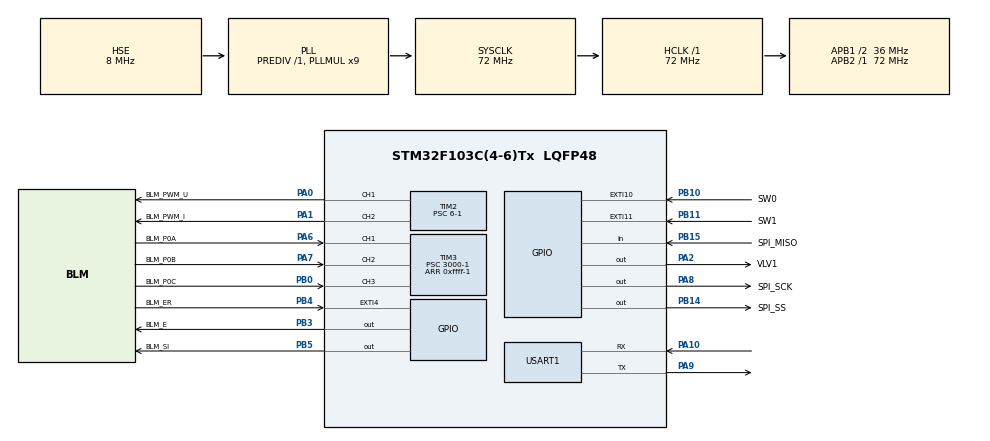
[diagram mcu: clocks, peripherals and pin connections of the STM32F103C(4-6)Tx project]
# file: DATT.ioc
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Mcu.Family=STM32F1
Mcu.Name=STM32F103C(4-6)Tx
Mcu.Package=LQFP48
NVIC.EXTI15_10_IRQn=true\:0\:0\:false\:false\:true\:true\:true\:true
NVIC.EXTI4_IRQn=true\:0\:0\:false\:false\:true\:true\:true\:true
NVIC.PriorityGroup=NVIC_PRIORITYGROUP_4
NVIC.TIM1_UP_IRQn=true\:2\:0\:true\:false\:true\:true\:true\:true
NVIC.TIM2_IRQn=true\:0\:0\:false\:false\:true\:true\:true\:true
NVIC.TIM3_IRQn=true\:0\:0\:true\:false\:true\:true\:true\:true
NVIC.USART1_IRQn=true\:1\:0\:true\:false\:true\:true\:true\:true
PA0-WKUP.GPIO_Label=BLM_PWM_U
PA0-WKUP.GPIO_ModeDefaultPP=GPIO_MODE_AF_PP
PA0-WKUP.GPIO_Speed=GPIO_SPEED_FREQ_HIGH
PA0-WKUP.Signal=S_TIM2_CH1_ETR
PA1.GPIO_Label=BLM_PWM_I
PA1.GPIO_Speed=GPIO_SPEED_FREQ_HIGH
PA1.Signal=S_TIM2_CH2
PA10.Mode=Asynchronous
PA10.Signal=USART1_RX
PA2.GPIO_Label=VLV1
PA2.Signal=GPIO_Output
PA6.GPIO_Label=BLM_P0A
PA6.GPIO_PuPd=GPIO_NOPULL
PA6.Signal=S_TIM3_CH1
PA7.GPIO_Label=BLM_P0B
PA7.GPIO_PuPd=GPIO_NOPULL
PA7.Signal=S_TIM3_CH2
PA8.GPIO_Label=SPI_SCK
PA8.GPIO_ModeDefaultOutputPP=GPIO_MODE_OUTPUT_OD
PA8.GPIO_PuPd=GPIO_NOPULL
PA8.GPIO_Speed=GPIO_SPEED_FREQ_HIGH
PA8.Signal=GPIO_Output
PA9.Mode=Asynchronous
PA9.Signal=USART1_TX
PB0.GPIO_Label=BLM_P0C
PB0.GPIO_PuPd=GPIO_NOPULL
PB0.Signal=S_TIM3_CH3
PB10.GPIO_Label=SW0
PB10.GPIO_ModeDefaultEXTI=GPIO_MODE_IT_FALLING
PB10.GPIO_PuPd=GPIO_PULLUP
PB10.Signal=GPXTI10
PB11.GPIO_Label=SW1
PB11.GPIO_ModeDefaultEXTI=GPIO_MODE_IT_FALLING
PB11.GPIO_PuPd=GPIO_PULLUP
PB11.Signal=GPXTI11
PB14.GPIO_Label=SPI_SS
PB14.GPIO_ModeDefaultOutputPP=GPIO_MODE_OUTPUT_OD
PB14.GPIO_PuPd=GPIO_NOPULL
PB14.Signal=GPIO_Output
PB15.GPIO_Label=SPI_MISO
PB15.GPIO_PuPd=GPIO_NOPULL
PB15.Signal=GPIO_Input
PB3.GPIO_Label=BLM_E
PB3.Signal=GPIO_Output
PB4.GPIO_Label=BLM_ER
PB4.GPIO_PuPd=GPIO_NOPULL
PB4.Signal=GPXTI4
PB5.GPIO_Label=BLM_SI
PB5.Signal=GPIO_Output
PD0-OSC_IN.Mode=HSE-External-Oscillator
PD0-OSC_IN.Signal=RCC_OSC_IN
PD1-OSC_OUT.Mode=HSE-External-Oscillator
PD1-OSC_OUT.Signal=RCC_OSC_OUT
ProjectManager.HeapSize=0x200
ProjectManager.StackSize=0x400
ProjectManager.TargetToolchain=MDK-ARM V5.32
RCC.AHBFreq_Value=72000000
RCC.APB1CLKDivider=RCC_HCLK_DIV2
RCC.APB1Freq_Value=36000000
RCC.APB1TimFreq_Value=72000000
RCC.APB2Freq_Value=72000000
RCC.APB2TimFreq_Value=72000000
RCC.HCLKFreq_Value=72000000
RCC.PLLMUL=RCC_PLL_MUL9
RCC.PLLSourceVirtual=RCC_PLLSOURCE_HSE
RCC.SYSCLKFreq_VALUE=72000000
RCC.SYSCLKSource=RCC_SYSCLKSOURCE_PLLCLK
RCC.USBFreq_Value=72000000
SH.S_TIM2_CH1_ETR.0=TIM2_CH1,PWM Generation1 CH1
SH.S_TIM2_CH2.0=TIM2_CH2,PWM Generation2 CH2
SH.S_TIM3_CH1.0=TIM3_CH1,Input_Capture1_from_TI1
SH.S_TIM3_CH2.0=TIM3_CH2,Input_Capture2_from_TI2
SH.S_TIM3_CH3.0=TIM3_CH3,Input_Capture3_from_TI3
TIM1.Period=20000-1
TIM1.Prescaler=360-1
TIM2.Channel-PWM\ Generation1\ CH1=TIM_CHANNEL_1
TIM2.Channel-PWM\ Generation2\ CH2=TIM_CHANNEL_2
TIM2.OCMode_PWM-PWM\ Generation2\ CH2=TIM_OCMODE_PWM1
TIM2.Period=600-1
TIM2.Prescaler=6-1
TIM2.Pulse-PWM\ Generation1\ CH1=0
TIM3.Channel-Input_Capture1_from_TI1=TIM_CHANNEL_1
TIM3.Channel-Input_Capture2_from_TI2=TIM_CHANNEL_2
TIM3.Channel-Input_Capture3_from_TI3=TIM_CHANNEL_3
TIM3.ICFilter_CH3=2
TIM3.Period=0xffff-1
TIM3.Prescaler=3000-1
USART1.Parity=PARITY_NONE
USART1.VirtualMode=VM_ASYNC
VP_SYS_VS_ND.Mode=No_Debug
VP_TIM1_VS_ClockSourceINT.Mode=Internal
VP_TIM2_VS_ClockSourceINT.Mode=Internal
VP_TIM3_VS_ClockSourceINT.Mode=Internal
VP_TIM3_VS_XOR.Mode=XOR_enable
board=custom

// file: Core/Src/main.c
/* USER CODE BEGIN Header */
/**
  ******************************************************************************
  * @file           : main.c
  * @brief          : Main program body
  ******************************************************************************
  * @attention
  *
  * Copyright (c) 2022 STMicroelectronics.
  * All rights reserved.
  *
  * This software is licensed under terms that can be found in the LICENSE file
  * in the root directory of this software component.
  * If no LICENSE file comes with this software, it is provided AS-IS.
  *
  ******************************************************************************
  */
/* USER CODE END Header */
#include "main.h"

/* USER CODE BEGIN Includes */
#include "stdlib.h"
#include "MCP3553.h"
#include "string.h"
#include "stdio.h"
#include "PID.h"
#include "pressureReceive.h"
/* USER CODE END Includes */

 TIM_HandleTypeDef htim1;
TIM_HandleTypeDef htim2;
TIM_HandleTypeDef htim3;

UART_HandleTypeDef huart1;

/* USER CODE BEGIN PV */
float pressure = PRESSURE_NORMAL;
float pressureCalc;
char Txdata[50];
char rx_buffer[30];
//char pressureRx[30];
uint8_t rx_index=0;
uint8_t rx_data;
int16_t voltage,current;
int16_t pwm;
volatile uint8_t flag_value = 0,flag_auto = 0, flag_speed = 0,flag_back = 0;
uint32_t Difference = 0,Difference_last=0;
float frequency = 0,frequencyCalc = 0;
uint8_t change_speed=0;
PidParameter PID_PRESSURE = {20,10,0.5};
PidParameter PID_SPEED = {0.12,1,0};
uint8_t count =0;
uint8_t countError = 0;
volatile uint32_t timeStart;
volatile PressureParameter pressureParam;
extern float last_error_pres,integrated_error_pres;
extern uint32_t timerPID_pres;
extern float last_error_pres_speed,integrated_error_pres_speed;
extern uint32_t timerPID_pres_speed;
extern float delta;
/* USER CODE END PV */

void SystemClock_Config(void);
static void MX_GPIO_Init(void);
static void MX_TIM2_Init(void);
static void MX_USART1_UART_Init(void);
static void MX_TIM1_Init(void);
static void MX_TIM3_Init(void);

/* USER CODE BEGIN 0 */
void HAL_TIM_PeriodElapsedCallback(TIM_HandleTypeDef * htim)
{
	if (htim -> Instance == htim1.Instance)
	{
		uint8_t state_system = !HAL_GPIO_ReadPin(BLM_E_GPIO_Port,BLM_E_Pin);//1:run; 0:stop
		uint8_t state_dir = HAL_GPIO_ReadPin(BLM_SI_GPIO_Port, BLM_SI_Pin);//0: back; 1: forward
		uint8_t state_valse = HAL_GPIO_ReadPin(VLV1_GPIO_Port,VLV1_Pin);//0: close; 1: open
		uint8_t state_extreme_back= !HAL_GPIO_ReadPin(SW0_GPIO_Port,SW0_Pin);//0: not; 1: yes
		uint8_t state_extreme_front= !HAL_GPIO_ReadPin(SW1_GPIO_Port,SW1_Pin);//0:not; 1: yes
		uint8_t state_motor= HAL_GPIO_ReadPin(BLM_ER_GPIO_Port,BLM_ER_Pin);//0: not error; 1:error
		sprintf(Txdata,"%.1f %.1f %d %d %d %d %d %d %d\n",pressure-PRESSURE_NORMAL,frequency,state_system,state_dir,
				state_valse,state_extreme_back,state_extreme_front,state_motor,flag_auto);
		HAL_UART_Transmit(&huart1, (uint8_t*)Txdata, strlen(Txdata), HAL_MAX_DELAY);
		if (change_speed)
			{
				count = 0;
				change_speed = 0;
			}
		else
			{
				if(frequency>200 || frequency<-200)
					frequency = 0;
				else if(++count==9)
					{
						frequency = 0;
						count = 0;
					}
			}
	}
}
void HAL_GPIO_EXTI_Callback(uint16_t GPIO_Pin)
{
	if(GPIO_Pin == SW0_Pin)
	{
		//close the solenoid valve
		HAL_GPIO_WritePin(VLV1_GPIO_Port, VLV1_Pin, GPIO_PIN_RESET);
		//Stop motor
		HAL_GPIO_WritePin(BLM_E_GPIO_Port, BLM_E_Pin, GPIO_PIN_SET);
		//motor go forward
		HAL_GPIO_WritePin(BLM_SI_GPIO_Port, BLM_SI_Pin, GPIO_PIN_SET);
		__HAL_TIM_SET_COMPARE(&htim2,TIM_CHANNEL_1,0);
		flag_auto = 0;
		flag_back = 0;
		flag_speed = 0;
	}
	else
	if(GPIO_Pin == SW1_Pin)
	{
		//open the solenoid valve
		HAL_GPIO_WritePin(VLV1_GPIO_Port, VLV1_Pin, GPIO_PIN_SET);
		//motor go back
		HAL_GPIO_WritePin(BLM_SI_GPIO_Port, BLM_SI_Pin, GPIO_PIN_RESET);

		if (flag_auto == 0)
		{
			//stop motor
			HAL_GPIO_WritePin(BLM_E_GPIO_Port, BLM_E_Pin, GPIO_PIN_SET);
			//speed = 0
			__HAL_TIM_SET_COMPARE(&htim2,TIM_CHANNEL_1,0);
			flag_speed = 0;
		}
		else
		{
			flag_back = 1;
			__HAL_TIM_SET_COMPARE(&htim2,TIM_CHANNEL_1,150);
		}
	}
	else
	if(GPIO_Pin == BLM_ER_Pin) //error motor
	{
			flag_auto = 0;
			frequencyCalc = 0;
			flag_speed = 0;
			flag_back = 0;
			HAL_GPIO_WritePin(BLM_E_GPIO_Port, BLM_E_Pin, GPIO_PIN_SET);
			__HAL_TIM_SET_COMPARE(&htim2,TIM_CHANNEL_1,0);
	}
}
void HAL_UART_RxCpltCallback(UART_HandleTypeDef *huart)
{
	if(huart->Instance==huart1.Instance)
	{
		if (!rx_index)
		{
			for(int i=0;i<20;i++)
			{
				rx_buffer[i]='\0';
			}
		}
		if(rx_data!='\n' && rx_data!='\r' && rx_data != '/')
		{
			rx_buffer[rx_index++]=rx_data;
		}
		else
		{
			flag_value = 1;
			rx_index=0;
		}
		HAL_UART_Receive_IT(&huart1,&rx_data, 1);
	}
}
void set_value_from_UART(char* rxBuffer)
{
	char num[30];
	uint8_t num_index=0;
	while(rxBuffer[num_index]!='\0')
	{
	  num[num_index]=rxBuffer[num_index+1];
	  num_index++;
	}
	switch (rxBuffer[0])
	{
		case 'a': //pressure
		{
			timeStart = HAL_GetTick();
			HAL_GPIO_WritePin(BLM_E_GPIO_Port, BLM_E_Pin, GPIO_PIN_RESET);
			pressureParam = pressureCalcParam(num,pressure);
			last_error_pres = 0;
			integrated_error_pres = 0;
			timerPID_pres = HAL_GetTick();
			last_error_pres_speed = 0;
			integrated_error_pres_speed = 0;
			timerPID_pres_speed = HAL_GetTick();
			flag_auto = 1;
			HAL_GPIO_WritePin(VLV1_GPIO_Port, VLV1_Pin, GPIO_PIN_RESET);
			break;
		}
		case 'f': //speed (frequency) of motor in pwm
		{
			flag_auto = 0;
			frequencyCalc=atof(num);
			if(HAL_GPIO_ReadPin(BLM_SI_GPIO_Port, BLM_SI_Pin)==GPIO_PIN_RESET)
				frequencyCalc= - frequencyCalc;
			if (frequencyCalc > FREQUENCY_MAX) frequencyCalc = FREQUENCY_MAX;
			else if (frequencyCalc < -FREQUENCY_MAX) frequencyCalc = -FREQUENCY_MAX;
			flag_speed = 1;
			HAL_GPIO_WritePin(BLM_E_GPIO_Port, BLM_E_Pin, GPIO_PIN_RESET);
			last_error_pres_speed = 0;
			integrated_error_pres_speed = 0;
			timerPID_pres_speed = HAL_GetTick();
			break;
		}
		case 'e': //enable motor
			HAL_GPIO_WritePin(BLM_E_GPIO_Port, BLM_E_Pin, GPIO_PIN_RESET);
			break;
		case 's': //stop motor
			flag_auto = 0;
			frequencyCalc = 0;
			flag_speed = 0;
			flag_back = 0;
			HAL_GPIO_WritePin(BLM_E_GPIO_Port, BLM_E_Pin, GPIO_PIN_SET);
			__HAL_TIM_SET_COMPARE(&htim2,TIM_CHANNEL_1,0);
			break;
		case 'b'://motor go back
			flag_auto = 0;
			HAL_GPIO_WritePin(BLM_SI_GPIO_Port, BLM_SI_Pin, GPIO_PIN_RESET);
			if(frequencyCalc>0) frequencyCalc = -frequencyCalc;
			break;
		case 'g': //motor go forward
			flag_auto = 0;
			HAL_GPIO_WritePin(BLM_SI_GPIO_Port, BLM_SI_Pin, GPIO_PIN_SET);
			if(frequencyCalc<0) frequencyCalc = -frequencyCalc;
			break;
		case 'o': //open valve
			flag_auto = 0;
			HAL_GPIO_WritePin(VLV1_GPIO_Port, VLV1_Pin, GPIO_PIN_SET);
			break;
		case 'c'://close valve
			flag_auto = 0;
			HAL_GPIO_WritePin(VLV1_GPIO_Port, VLV1_Pin, GPIO_PIN_RESET);
			break;
//		case 'p':
//		{
//			PID_PRESSURE.Kp = atof(num);
//			break;
//		}
//		case 'i': //
//		{
//			PID_PRESSURE.Ki = atof(num);
//			break;
//		}
//		case 'd': //
//		{
//			PID_PRESSURE.Kd = atof(num);
//			break;
//		}
//		case 'q':
//			delta = atof(num);
//		break;
	}
}
void HAL_TIM_IC_CaptureCallback(TIM_HandleTypeDef *htim)
{
	if (htim->Channel == HAL_TIM_ACTIVE_CHANNEL_3)
	{
		Difference = HAL_TIM_ReadCapturedValue(htim, TIM_CHANNEL_3);
		__HAL_TIM_SET_COUNTER(htim, 0);  // reset the counter
		// Freq/Prescale = 24000
		frequency = (float)24000*60/3/Difference; //rpm
		if(!HAL_GPIO_ReadPin(BLM_SI_GPIO_Port,BLM_SI_Pin))
			frequency = -frequency;
		change_speed = 1;
		__HAL_TIM_CLEAR_FLAG(htim, TIM_FLAG_UPDATE);
	}
}

/* USER CODE END 0 */

int main(void)
{
  /* MCU Configuration--------------------------------------------------------*/
  HAL_Init();
  /* Configure the system clock */
  SystemClock_Config();
  /* Initialize all configured peripherals */
  MX_GPIO_Init();
  MX_TIM2_Init();
  MX_USART1_UART_Init();
  MX_TIM1_Init();
  MX_TIM3_Init();
  /* USER CODE BEGIN 2 */
  HAL_GPIO_WritePin(SPI_SS_GPIO_Port, SPI_SS_Pin, GPIO_PIN_SET);
  HAL_Delay(100);
  HAL_GPIO_WritePin(SPI_SS_GPIO_Port, SPI_SS_Pin, GPIO_PIN_RESET);
  for(uint8_t i=0;i<5;i++)
	  pressure = readMCP3553()/0.00064;

  HAL_TIM_Base_Start_IT(&htim1);
  HAL_UART_Receive_IT(&huart1,&rx_data, 1);
  HAL_TIM_IC_Start_IT(&htim3, TIM_CHANNEL_1);
  HAL_TIM_IC_Start_IT(&htim3, TIM_CHANNEL_2);
  HAL_TIM_IC_Start_IT(&htim3, TIM_CHANNEL_3);

  HAL_GPIO_WritePin(BLM_SI_GPIO_Port, BLM_SI_Pin, GPIO_PIN_SET);
  HAL_GPIO_WritePin(BLM_E_GPIO_Port, BLM_E_Pin, GPIO_PIN_SET);

  HAL_TIM_PWM_Start(&htim2, TIM_CHANNEL_1);
  HAL_TIM_PWM_Start(&htim2, TIM_CHANNEL_2);

  __HAL_TIM_SET_COMPARE(&htim2,TIM_CHANNEL_2,(uint16_t)(PWM_MAX*0.4));

  /* USER CODE END 2 */
  /* Infinite loop */
  while (1)
  {
    /* USER CODE BEGIN 3 */
		float vol = readMCP3553();
		if(vol<3.3 && vol>0.7) pressure = vol/0.00064;
		if(pressure < PRESSURE_MIN||pressure>PRESSURE_MAX)
		{
			HAL_GPIO_WritePin(VLV1_GPIO_Port,VLV1_Pin,GPIO_PIN_SET);
			flag_auto = 0;
		}
		if (flag_value)
		{
			set_value_from_UART(rx_buffer);
			flag_value = 0;
		}
		if (!HAL_GPIO_ReadPin(BLM_E_GPIO_Port, BLM_E_Pin))
		{
			if(flag_auto & !flag_back)
			{
				pressureCalc = pressureReceive(pressure, timeStart,pressureParam);
				frequencyCalc = PID_Pressure_Calc(PID_PRESSURE, pressure, pressureCalc);
				pwm = PID_Speed_Calc(PID_SPEED,frequency,frequencyCalc);
				if(pwm>=0)
				{
					if (HAL_GPIO_ReadPin(SW0_GPIO_Port, SW1_Pin))
					{
						HAL_GPIO_WritePin(BLM_SI_GPIO_Port, BLM_SI_Pin, GPIO_PIN_SET);
						__HAL_TIM_SET_COMPARE(&htim2,TIM_CHANNEL_1,pwm);
					}
				}
				else
				{
					if (HAL_GPIO_ReadPin(SW0_GPIO_Port, SW0_Pin))
					{
						HAL_GPIO_WritePin(BLM_SI_GPIO_Port, BLM_SI_Pin, GPIO_PIN_RESET);
						__HAL_TIM_SET_COMPARE(&htim2,TIM_CHANNEL_1,-pwm);
					}
				}
			}
			else if(flag_speed)
			{
				pwm = PID_Speed_Calc(PID_SPEED,frequency,frequencyCalc);
				if(pwm>=0)
				{
					if (HAL_GPIO_ReadPin(SW0_GPIO_Port, SW1_Pin))
					{
						HAL_GPIO_WritePin(BLM_SI_GPIO_Port, BLM_SI_Pin, GPIO_PIN_SET);
						__HAL_TIM_SET_COMPARE(&htim2,TIM_CHANNEL_1,pwm);
					}
				}
				else
				{
					if (HAL_GPIO_ReadPin(SW0_GPIO_Port, SW0_Pin))
					{
						HAL_GPIO_WritePin(BLM_SI_GPIO_Port, BLM_SI_Pin, GPIO_PIN_RESET);
						__HAL_TIM_SET_COMPARE(&htim2,TIM_CHANNEL_1,-pwm);
					}
				}
			}
		}
		if (!HAL_GPIO_ReadPin(SW0_GPIO_Port, SW0_Pin) && !HAL_GPIO_ReadPin(SW1_GPIO_Port, SW1_Pin))
		{
			HAL_GPIO_WritePin(BLM_E_GPIO_Port, BLM_E_Pin, GPIO_PIN_SET);
		}
		else if (!HAL_GPIO_ReadPin(SW0_GPIO_Port, SW0_Pin))
		{
			if(!HAL_GPIO_ReadPin(BLM_SI_GPIO_Port, BLM_SI_Pin))
			{
				__HAL_TIM_SET_COMPARE(&htim2,TIM_CHANNEL_1,0);
				HAL_GPIO_WritePin(BLM_SI_GPIO_Port, BLM_SI_Pin, GPIO_PIN_SET);
			}
		}
		else if (!HAL_GPIO_ReadPin(SW1_GPIO_Port, SW1_Pin))
		{
			if(!flag_back && !flag_auto)
			{
				if(HAL_GPIO_ReadPin(BLM_SI_GPIO_Port, BLM_SI_Pin))
				{
					__HAL_TIM_SET_COMPARE(&htim2,TIM_CHANNEL_1,0);
					HAL_GPIO_WritePin(BLM_SI_GPIO_Port, BLM_SI_Pin, GPIO_PIN_RESET);
				}
				HAL_GPIO_WritePin(VLV1_GPIO_Port, VLV1_Pin, GPIO_PIN_SET);
			}
			else if(flag_auto)
			{
				flag_back = 1;
				__HAL_TIM_SET_COMPARE(&htim2,TIM_CHANNEL_1,150);
			}
		}
  }
  /* USER CODE END 3 */
}

void SystemClock_Config(void)
{
  RCC_OscInitTypeDef RCC_OscInitStruct = {0};
  RCC_ClkInitTypeDef RCC_ClkInitStruct = {0};

  /** Initializes the RCC Oscillators according to the specified parameters
  * in the RCC_OscInitTypeDef structure.
  */
  RCC_OscInitStruct.OscillatorType = RCC_OSCILLATORTYPE_HSE;
  RCC_OscInitStruct.HSEState = RCC_HSE_ON;
  RCC_OscInitStruct.HSEPredivValue = RCC_HSE_PREDIV_DIV1;
  RCC_OscInitStruct.HSIState = RCC_HSI_ON;
  RCC_OscInitStruct.PLL.PLLState = RCC_PLL_ON;
  RCC_OscInitStruct.PLL.PLLSource = RCC_PLLSOURCE_HSE;
  RCC_OscInitStruct.PLL.PLLMUL = RCC_PLL_MUL9;
  if (HAL_RCC_OscConfig(&RCC_OscInitStruct) != HAL_OK)
  {
    Error_Handler();
  }

  /** Initializes the CPU, AHB and APB buses clocks
  */
  RCC_ClkInitStruct.ClockType = RCC_CLOCKTYPE_HCLK|RCC_CLOCKTYPE_SYSCLK
                              |RCC_CLOCKTYPE_PCLK1|RCC_CLOCKTYPE_PCLK2;
  RCC_ClkInitStruct.SYSCLKSource = RCC_SYSCLKSOURCE_PLLCLK;
  RCC_ClkInitStruct.AHBCLKDivider = RCC_SYSCLK_DIV1;
  RCC_ClkInitStruct.APB1CLKDivider = RCC_HCLK_DIV2;
  RCC_ClkInitStruct.APB2CLKDivider = RCC_HCLK_DIV1;

  if (HAL_RCC_ClockConfig(&RCC_ClkInitStruct, FLASH_LATENCY_2) != HAL_OK)
  {
    Error_Handler();
  }
}

static void MX_TIM1_Init(void)
{

  TIM_ClockConfigTypeDef sClockSourceConfig = {0};
  TIM_MasterConfigTypeDef sMasterConfig = {0};

  htim1.Instance = TIM1;
  htim1.Init.Prescaler = 360-1;
  htim1.Init.CounterMode = TIM_COUNTERMODE_UP;
  htim1.Init.Period = 20000-1;
  htim1.Init.ClockDivision = TIM_CLOCKDIVISION_DIV1;
  htim1.Init.RepetitionCounter = 0;
  htim1.Init.AutoReloadPreload = TIM_AUTORELOAD_PRELOAD_DISABLE;
  if (HAL_TIM_Base_Init(&htim1) != HAL_OK)
  {
    Error_Handler();
  }
  sClockSourceConfig.ClockSource = TIM_CLOCKSOURCE_INTERNAL;
  if (HAL_TIM_ConfigClockSource(&htim1, &sClockSourceConfig) != HAL_OK)
  {
    Error_Handler();
  }
  sMasterConfig.MasterOutputTrigger = TIM_TRGO_RESET;
  sMasterConfig.MasterSlaveMode = TIM_MASTERSLAVEMODE_DISABLE;
  if (HAL_TIMEx_MasterConfigSynchronization(&htim1, &sMasterConfig) != HAL_OK)
  {
    Error_Handler();
  }

}

static void MX_TIM2_Init(void)
{

  TIM_ClockConfigTypeDef sClockSourceConfig = {0};
  TIM_MasterConfigTypeDef sMasterConfig = {0};
  TIM_OC_InitTypeDef sConfigOC = {0};

  htim2.Instance = TIM2;
  htim2.Init.Prescaler = 9-1;
  htim2.Init.CounterMode = TIM_COUNTERMODE_UP;
  htim2.Init.Period = 400-1;
  htim2.Init.ClockDivision = TIM_CLOCKDIVISION_DIV1;
  htim2.Init.AutoReloadPreload = TIM_AUTORELOAD_PRELOAD_DISABLE;
  if (HAL_TIM_Base_Init(&htim2) != HAL_OK)
  {
    Error_Handler();
  }
  sClockSourceConfig.ClockSource = TIM_CLOCKSOURCE_INTERNAL;
  if (HAL_TIM_ConfigClockSource(&htim2, &sClockSourceConfig) != HAL_OK)
  {
    Error_Handler();
  }
  if (HAL_TIM_PWM_Init(&htim2) != HAL_OK)
  {
    Error_Handler();
  }
  sMasterConfig.MasterOutputTrigger = TIM_TRGO_RESET;
  sMasterConfig.MasterSlaveMode = TIM_MASTERSLAVEMODE_DISABLE;
  if (HAL_TIMEx_MasterConfigSynchronization(&htim2, &sMasterConfig) != HAL_OK)
  {
    Error_Handler();
  }
  sConfigOC.OCMode = TIM_OCMODE_PWM1;
  sConfigOC.Pulse = 0;
  sConfigOC.OCPolarity = TIM_OCPOLARITY_HIGH;
  sConfigOC.OCFastMode = TIM_OCFAST_DISABLE;
  if (HAL_TIM_PWM_ConfigChannel(&htim2, &sConfigOC, TIM_CHANNEL_1) != HAL_OK)
  {
    Error_Handler();
  }
  if (HAL_TIM_PWM_ConfigChannel(&htim2, &sConfigOC, TIM_CHANNEL_2) != HAL_OK)
  {
    Error_Handler();
  }
  HAL_TIM_MspPostInit(&htim2);

}

static void MX_TIM3_Init(void)
{

  TIM_ClockConfigTypeDef sClockSourceConfig = {0};
  TIM_MasterConfigTypeDef sMasterConfig = {0};
  TIM_IC_InitTypeDef sConfigIC = {0};

  htim3.Instance = TIM3;
  htim3.Init.Prescaler = 3000-1;
  htim3.Init.CounterMode = TIM_COUNTERMODE_UP;
  htim3.Init.Period = 0xffff-1;
  htim3.Init.ClockDivision = TIM_CLOCKDIVISION_DIV1;
  htim3.Init.AutoReloadPreload = TIM_AUTORELOAD_PRELOAD_DISABLE;
  if (HAL_TIM_Base_Init(&htim3) != HAL_OK)
  {
    Error_Handler();
  }
  sClockSourceConfig.ClockSource = TIM_CLOCKSOURCE_INTERNAL;
  if (HAL_TIM_ConfigClockSource(&htim3, &sClockSourceConfig) != HAL_OK)
  {
    Error_Handler();
  }
  if (HAL_TIM_IC_Init(&htim3) != HAL_OK)
  {
    Error_Handler();
  }
  sMasterConfig.MasterOutputTrigger = TIM_TRGO_RESET;
  sMasterConfig.MasterSlaveMode = TIM_MASTERSLAVEMODE_DISABLE;
  if (HAL_TIMEx_MasterConfigSynchronization(&htim3, &sMasterConfig) != HAL_OK)
  {
    Error_Handler();
  }
  sConfigIC.ICPolarity = TIM_INPUTCHANNELPOLARITY_RISING;
  sConfigIC.ICSelection = TIM_ICSELECTION_DIRECTTI;
  sConfigIC.ICPrescaler = TIM_ICPSC_DIV1;
  sConfigIC.ICFilter = 0;
  if (HAL_TIM_IC_ConfigChannel(&htim3, &sConfigIC, TIM_CHANNEL_1) != HAL_OK)
  {
    Error_Handler();
  }
  if (HAL_TIM_IC_ConfigChannel(&htim3, &sConfigIC, TIM_CHANNEL_2) != HAL_OK)
  {
    Error_Handler();
  }
  sConfigIC.ICFilter = 2;
  if (HAL_TIM_IC_ConfigChannel(&htim3, &sConfigIC, TIM_CHANNEL_3) != HAL_OK)
  {
    Error_Handler();
  }
  if (HAL_TIM_ConfigTI1Input(&htim3, TIM_TI1SELECTION_XORCOMBINATION) != HAL_OK)
  {
    Error_Handler();
  }

}

static void MX_USART1_UART_Init(void)
{

  huart1.Instance = USART1;
  huart1.Init.BaudRate = 115200;
  huart1.Init.WordLength = UART_WORDLENGTH_8B;
  huart1.Init.StopBits = UART_STOPBITS_1;
  huart1.Init.Parity = UART_PARITY_NONE;
  huart1.Init.Mode = UART_MODE_TX_RX;
  huart1.Init.HwFlowCtl = UART_HWCONTROL_NONE;
  huart1.Init.OverSampling = UART_OVERSAMPLING_16;
  if (HAL_UART_Init(&huart1) != HAL_OK)
  {
    Error_Handler();
  }

}

static void MX_GPIO_Init(void)
{
  GPIO_InitTypeDef GPIO_InitStruct = {0};

  /* GPIO Ports Clock Enable */
  __HAL_RCC_GPIOD_CLK_ENABLE();
  __HAL_RCC_GPIOA_CLK_ENABLE();
  __HAL_RCC_GPIOB_CLK_ENABLE();

	GPIO_InitStruct.Pin = GPIO_PIN_0|GPIO_PIN_1;
  GPIO_InitStruct.Mode = GPIO_MODE_AF_PP;
  GPIO_InitStruct.Speed = GPIO_SPEED_FREQ_HIGH;
  HAL_GPIO_Init(GPIOA, &GPIO_InitStruct);

  /*Configure GPIO pin Output Level */
  HAL_GPIO_WritePin(GPIOA, VLV1_Pin|SPI_SCK_Pin, GPIO_PIN_RESET);

  /*Configure GPIO pin Output Level */
  HAL_GPIO_WritePin(GPIOB, SPI_SS_Pin|BLM_E_Pin|BLM_SI_Pin, GPIO_PIN_RESET);

  /*Configure GPIO pin : VLV1_Pin */
  GPIO_InitStruct.Pin = VLV1_Pin;
  GPIO_InitStruct.Mode = GPIO_MODE_OUTPUT_PP;
  GPIO_InitStruct.Pull = GPIO_NOPULL;
  GPIO_InitStruct.Speed = GPIO_SPEED_FREQ_LOW;
  HAL_GPIO_Init(VLV1_GPIO_Port, &GPIO_InitStruct);

  /*Configure GPIO pins : SW0_Pin SW1_Pin */
  GPIO_InitStruct.Pin = SW0_Pin|SW1_Pin;
  GPIO_InitStruct.Mode = GPIO_MODE_IT_FALLING;
  GPIO_InitStruct.Pull = GPIO_PULLUP;
  HAL_GPIO_Init(GPIOB, &GPIO_InitStruct);

  /*Configure GPIO pin : SPI_SS_Pin */
  GPIO_InitStruct.Pin = SPI_SS_Pin;
  GPIO_InitStruct.Mode = GPIO_MODE_OUTPUT_OD;
  GPIO_InitStruct.Pull = GPIO_NOPULL;
  GPIO_InitStruct.Speed = GPIO_SPEED_FREQ_LOW;
  HAL_GPIO_Init(SPI_SS_GPIO_Port, &GPIO_InitStruct);

  /*Configure GPIO pin : SPI_MISO_Pin */
  GPIO_InitStruct.Pin = SPI_MISO_Pin;
  GPIO_InitStruct.Mode = GPIO_MODE_INPUT;
  GPIO_InitStruct.Pull = GPIO_NOPULL;
  HAL_GPIO_Init(SPI_MISO_GPIO_Port, &GPIO_InitStruct);

  /*Configure GPIO pin : SPI_SCK_Pin */
  GPIO_InitStruct.Pin = SPI_SCK_Pin;
  GPIO_InitStruct.Mode = GPIO_MODE_OUTPUT_OD;
  GPIO_InitStruct.Pull = GPIO_NOPULL;
  GPIO_InitStruct.Speed = GPIO_SPEED_FREQ_HIGH;
  HAL_GPIO_Init(SPI_SCK_GPIO_Port, &GPIO_InitStruct);

  /*Configure GPIO pins : BLM_E_Pin BLM_SI_Pin */
  GPIO_InitStruct.Pin = BLM_E_Pin|BLM_SI_Pin;
  GPIO_InitStruct.Mode = GPIO_MODE_OUTPUT_PP;
  GPIO_InitStruct.Pull = GPIO_NOPULL;
  GPIO_InitStruct.Speed = GPIO_SPEED_FREQ_LOW;
  HAL_GPIO_Init(GPIOB, &GPIO_InitStruct);

  /*Configure GPIO pin : BLM_ER_Pin */
  GPIO_InitStruct.Pin = BLM_ER_Pin;
  GPIO_InitStruct.Mode = GPIO_MODE_IT_RISING;
  GPIO_InitStruct.Pull = GPIO_NOPULL;
  HAL_GPIO_Init(BLM_ER_GPIO_Port, &GPIO_InitStruct);

  /* EXTI interrupt init*/
  HAL_NVIC_SetPriority(EXTI4_IRQn, 0, 0);
  HAL_NVIC_EnableIRQ(EXTI4_IRQn);

  HAL_NVIC_SetPriority(EXTI15_10_IRQn, 0, 0);
  HAL_NVIC_EnableIRQ(EXTI15_10_IRQn);

}

void Error_Handler(void)
{
  __disable_irq();
  while (1)
  {
  }
}
